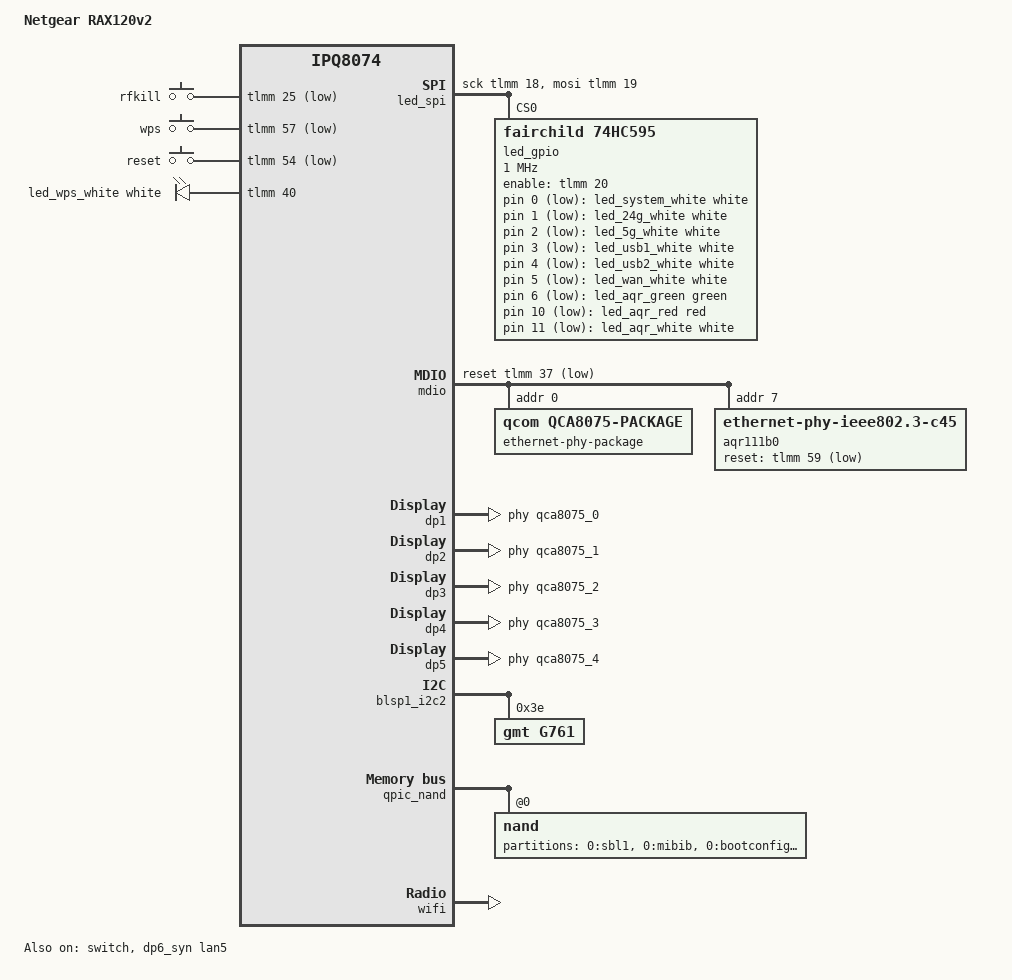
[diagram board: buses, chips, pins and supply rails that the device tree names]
// SPDX-License-Identifier: GPL-2.0-or-later OR MIT

/dts-v1/;

#include "ipq8074.dtsi"
#include "ipq8074-ess.dtsi"
#include "ipq8074-nss.dtsi"
#include "ipq8074-common.dtsi"
#include "ipq8074-hk-cpu.dtsi"

#include <dt-bindings/gpio/gpio.h>
#include <dt-bindings/input/input.h>
#include <dt-bindings/leds/common.h>

/ {
	model = "Netgear RAX120v2";
	compatible = "netgear,rax120v2", "qcom,ipq8074";

	aliases {
		serial0 = &blsp1_uart5;

		led-boot = &led_system_white;
		led-failsafe = &led_system_white;
		led-running = &led_system_white;
		led-upgrade = &led_system_white;

		label-mac-device = &dp5;
	};

	chosen {
		stdout-path = "serial0:115200n8";
		bootargs-append = " ubi.mtd=rootfs root=/dev/ubiblock0_0";
	};

	keys {
		compatible = "gpio-keys";

		rfkill {
			label = "rfkill";
			gpios = <&tlmm 25 GPIO_ACTIVE_LOW>;
			linux,code = <KEY_RFKILL>;
		};

		wps {
			label = "wps";
			gpios = <&tlmm 57 GPIO_ACTIVE_LOW>;
			linux,code = <KEY_WPS_BUTTON>;
		};

		reset {
			label = "reset";
			gpios = <&tlmm 54 GPIO_ACTIVE_LOW>;
			linux,code = <KEY_RESTART>;
		};
	};

	led_spi {
		compatible = "spi-gpio";
		#address-cells = <1>;
		#size-cells = <0>;

		sck-gpios = <&tlmm 18 GPIO_ACTIVE_HIGH>;
		mosi-gpios = <&tlmm 19 GPIO_ACTIVE_HIGH>;

		led_gpio: gpio {
			compatible = "fairchild,74hc595";
			reg = <0>;
			gpio-controller;
			#gpio-cells = <2>;
			registers-number = <2>;
			spi-max-frequency = <1000000>;
			enable-gpios = <&tlmm 20 GPIO_ACTIVE_HIGH>;
		};
	};

	leds {
		compatible = "gpio-leds";

		led_system_white: system-white {
			gpios = <&led_gpio 0 GPIO_ACTIVE_LOW>;
			color = <LED_COLOR_ID_WHITE>;
		};

		led_24g_white {
			gpios = <&led_gpio 1 GPIO_ACTIVE_LOW>;
			color = <LED_COLOR_ID_WHITE>;
			linux,default-trigger = "phy1radio";
		};

		led_5g_white {
			gpios = <&led_gpio 2 GPIO_ACTIVE_LOW>;
			color = <LED_COLOR_ID_WHITE>;
			linux,default-trigger = "phy0radio";
		};

		led_usb1_white {
			gpios = <&led_gpio 3 GPIO_ACTIVE_LOW>;
			color = <LED_COLOR_ID_WHITE>;
		};

		led_usb2_white {
			gpios = <&led_gpio 4 GPIO_ACTIVE_LOW>;
			color = <LED_COLOR_ID_WHITE>;
		};

		led_wan_white: wan-white {
			gpios = <&led_gpio 5 GPIO_ACTIVE_LOW>;
			color = <LED_COLOR_ID_WHITE>;
		};

		led_aqr_green {
			gpios = <&led_gpio 6 GPIO_ACTIVE_LOW>;
			color = <LED_COLOR_ID_GREEN>;
		};

		led_aqr_red {
			gpios = <&led_gpio 10 GPIO_ACTIVE_LOW>;
			color = <LED_COLOR_ID_RED>;
		};

		led_aqr_white {
			gpios = <&led_gpio 11 GPIO_ACTIVE_LOW>;
			color = <LED_COLOR_ID_WHITE>;
		};

		led_wps_white {
			gpios = <&tlmm 40 GPIO_ACTIVE_HIGH>;
			color = <LED_COLOR_ID_WHITE>;
		};
	};
};

&mdio {
	status = "okay";

	pinctrl-0 = <&mdio_pins>;
	pinctrl-names = "default";
	reset-gpios = <&tlmm 37 GPIO_ACTIVE_LOW>;

	ethernet-phy-package@0 {
		compatible = "qcom,qca8075-package";
		#address-cells = <1>;
		#size-cells = <0>;
		reg = <0>;

		qcom,package-mode = "qsgmii";

		qca8075_0: ethernet-phy@0 {
			compatible = "ethernet-phy-ieee802.3-c22";
			reg = <0>;
		};

		qca8075_1: ethernet-phy@1 {
			compatible = "ethernet-phy-ieee802.3-c22";
			reg = <1>;
		};

		qca8075_2: ethernet-phy@2 {
			compatible = "ethernet-phy-ieee802.3-c22";
			reg = <2>;
		};

		qca8075_3: ethernet-phy@3 {
			compatible = "ethernet-phy-ieee802.3-c22";
			reg = <3>;
		};

		qca8075_4: ethernet-phy@4 {
			compatible = "ethernet-phy-ieee802.3-c22";
			reg = <4>;
		};
	};

	aqr111b0: ethernet-phy@7 {
		compatible ="ethernet-phy-ieee802.3-c45";
		reg = <7>;
		reset-gpios = <&tlmm 59 GPIO_ACTIVE_LOW>;
	};
};

&switch {
	status = "okay";

	switch_lan_bmp = <(ESS_PORT1 | ESS_PORT2 | ESS_PORT3 | ESS_PORT4 | ESS_PORT6)>;
	switch_wan_bmp = <ESS_PORT5>;
	switch_mac_mode = <MAC_MODE_QSGMII>;
	switch_mac_mode2 = <MAC_MODE_USXGMII>;

	qcom,port_phyinfo {
		port@1 {
			port_id = <1>;
			phy_address = <0>;
		};

		port@2 {
			port_id = <2>;
			phy_address = <1>;
		};

		port@3 {
			port_id = <3>;
			phy_address = <2>;
		};

		port@4 {
			port_id = <4>;
			phy_address = <3>;
		};

		port@5 {
			port_id = <5>;
			phy_address = <4>;
		};

		port@6 {
			port_id = <6>;
			phy_address = <7>;
			compatible = "ethernet-phy-ieee802.3-c45";
			ethernet-phy-ieee802.3-c45;
		};
	};
};

&edma {
	status = "okay";
};

&dp1 {
	status = "okay";
	phy-handle = <&qca8075_0>;
	label = "lan4";
	nvmem-cells = <&macaddr_lan>;
	nvmem-cell-names = "mac-address";
};

&dp2 {
	status = "okay";
	phy-handle = <&qca8075_1>;
	label = "lan3";
	nvmem-cells = <&macaddr_lan>;
	nvmem-cell-names = "mac-address";
};

&dp3 {
	status = "okay";
	phy-handle = <&qca8075_2>;
	label = "lan2";
	nvmem-cells = <&macaddr_lan>;
	nvmem-cell-names = "mac-address";
};

&dp4 {
	status = "okay";
	phy-handle = <&qca8075_3>;
	label = "lan1";
	nvmem-cells = <&macaddr_lan>;
	nvmem-cell-names = "mac-address";
};

&dp5 {
	status = "okay";
	phy-handle = <&qca8075_4>;
	label = "wan";
	nvmem-cells = <&macaddr_wan>;
	nvmem-cell-names = "mac-address";
};

&dp6_syn {
	status = "okay";
	phy-mode = "usxgmii";
	phy-handle = <&aqr111b0>;
	label = "lan5";
	nvmem-cells = <&macaddr_lan>;
	nvmem-cell-names = "mac-address";
};

&blsp1_i2c2 {
	status = "okay";

	g761@3e {
		compatible = "gmt,g761";
		reg = <0x3e>;
		fan_gear_mode = <0>;
		fan_start = <1>;
		pwm_polarity = <0>;
	};
};

&qpic_nand {
	status = "okay";

	partitions {
		status = "disabled";
	};

	nand@0 {
		reg = <0>;

		nand-ecc-strength = <4>;
		nand-ecc-step-size = <512>;
		nand-bus-width = <8>;

		partitions {
			compatible = "fixed-partitions";
			#address-cells = <1>;
			#size-cells = <1>;

			partition@0 {
				label = "0:sbl1";
				reg = <0x00000000 0x00100000>;
				read-only;
			};

			partition@100000 {
				label = "0:mibib";
				reg = <0x00100000 0x00100000>;
				read-only;
			};

			partition@200000 {
				label = "0:bootconfig";
				reg = <0x00200000 0x00080000>;
				read-only;
			};

			partition@280000 {
				label = "0:bootconfig_1";
				reg = <0x00280000 0x00080000>;
				read-only;
			};

			partition@300000 {
				label = "0:qsee";
				reg = <0x00300000 0x00300000>;
				read-only;
			};

			partition@600000 {
				label = "0:qsee_1";
				reg = <0x00600000 0x00300000>;
				read-only;
			};

			partition@900000 {
				label = "0:devcfg";
				reg = <0x00900000 0x00080000>;
				read-only;
			};

			partition@980000 {
				label = "0:devcfg_1";
				reg = <0x00980000 0x00080000>;
				read-only;
			};

			partition@a00000 {
				label = "0:apdp";
				reg = <0x00a00000 0x00080000>;
				read-only;
			};

			partition@a80000 {
				label = "0:apdp_1";
				reg = <0x00a80000 0x00080000>;
				read-only;
			};

			partition@b00000 {
				label = "0:rpm";
				reg = <0x00b00000 0x00080000>;
				read-only;
			};

			partition@b80000 {
				label = "0:rpm_1";
				reg = <0x00b80000 0x00080000>;
				read-only;
			};

			partition@c00000 {
				label = "0:cdt";
				reg = <0x00c00000 0x00080000>;
				read-only;
			};

			partition@c80000 {
				label = "0:cdt_1";
				reg = <0x00c80000 0x00080000>;
				read-only;
			};

			partition@d00000 {
				label = "0:appsblenv";
				reg = <0x00d00000 0x00080000>;
			};

			partition@d80000 {
				label = "0:appsbl";
				reg = <0x00d80000 0x00100000>;
				read-only;
			};

			partition@e80000 {
				label = "0:appsbl_1";
				reg = <0x00e80000 0x00100000>;
				read-only;
			};

			partition@f80000 {
				label = "0:art";
				reg = <0x00f80000 0x00080000>;
				read-only;
			};

			partition@1000000 {
				label = "0:art.bak";
				reg = <0x01000000 0x00080000>;
				read-only;
			};

			partition@1080000 {
				label = "config";
				reg = <0x01080000 0x00100000>;
				read-only;
			};

			partition@1180000 {
				label = "boarddata1";
				reg = <0x01180000 0x00100000>;
				read-only;

				nvmem-layout {
					compatible = "fixed-layout";
					#address-cells = <1>;
					#size-cells = <1>;

					macaddr_lan: macaddr@0 {
						reg = <0x00 0x06>;
					};

					macaddr_wan: macaddr@1 {
						reg = <0x06 0x06>;
					};

					macaddr_wlan5g: macaddr@2 {
						reg = <0x0c 0x06>;
					};
				};
			};

			partition@1280000 {
				label = "boarddata2";
				reg = <0x01280000 0x00100000>;
				read-only;
			};

			partition@1380000 {
				label = "pot";
				reg = <0x01380000 0x00100000>;
				read-only;
			};

			partition@1480000 {
				label = "dnidata";
				reg = <0x01480000 0x00500000>;
				read-only;
			};

			partition@1980000 {
				label = "kernel";
				reg = <0x01980000 0x01d00000>;
			};

			partition@7e00000 {
				label = "ethphyfw";
				reg = <0x07e00000 0x00080000>;
			};

			partition@e8800000 {
				label = "rootfs";
				reg = <0x0e880000 0x11780000>;
			};
		};
	};
};

&wifi {
	status = "okay";
	qcom,ath11k-fw-memory-mode = <1>;
	qcom,ath11k-calibration-variant = "Netgear-RAX120v2";
};
